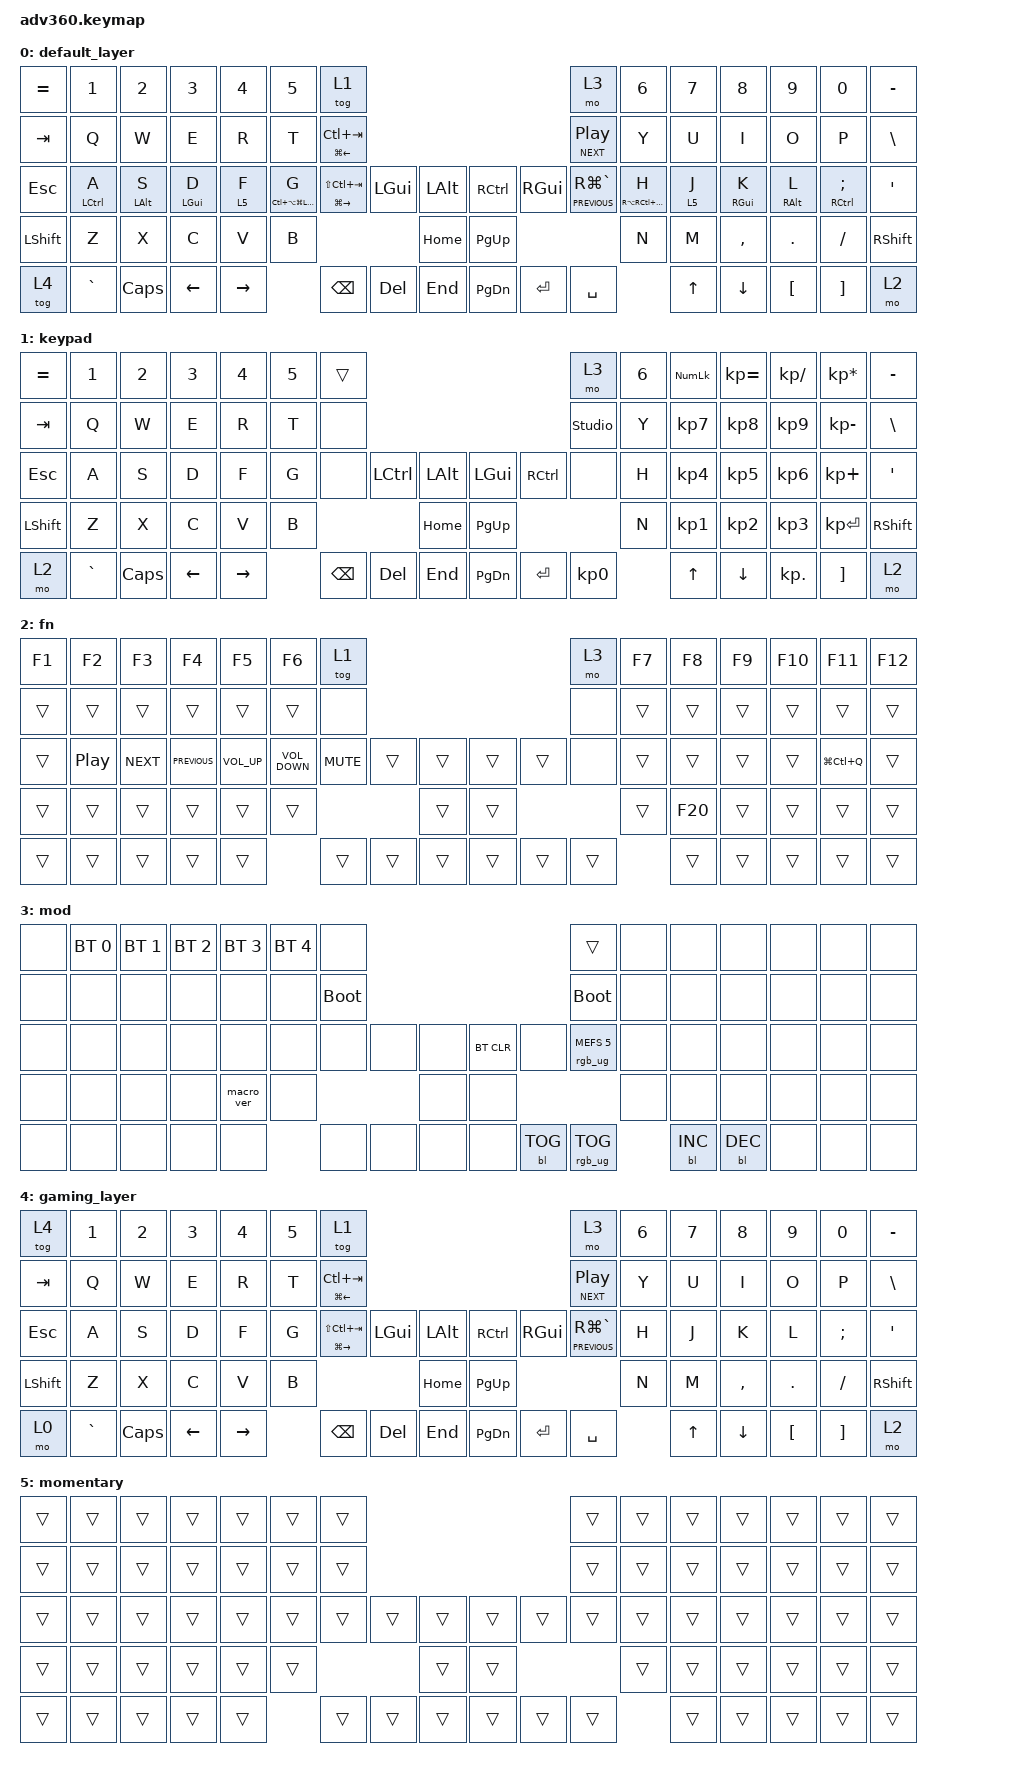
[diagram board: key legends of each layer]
#include <dt-bindings/zmk/stp.h>
#include <behaviors.dtsi>
#include <dt-bindings/zmk/backlight.h>
#include <dt-bindings/zmk/bt.h>
#include <dt-bindings/zmk/keys.h>
#include <dt-bindings/zmk/rgb.h>

/ {
    behaviors {
        #include "macros.dtsi"
      #include "version.dtsi"

        hm: homerow_mods {
            compatible = "zmk,behavior-hold-tap";
            label = "HOMEROW_MODS";
            #binding-cells = <2>;
            tapping-term-ms = <200>;
            quick_tap_ms = <175>;
            flavor = "tap-preferred";
            bindings = <&kp>, <&kp>;
        };
    };

    keymap {
        compatible = "zmk,keymap";

        default_layer {
            bindings = <
&kp EQUAL  &kp N1       &kp N2          &kp N3          &kp N4     &kp N5                        &tog 1                                                                                   &mo 3                     &kp N6                         &kp N7   &kp N8           &kp N9           &kp N0                       &kp MINUS
&kp TAB    &kp Q        &kp W           &kp E           &kp R      &kp T                         &mt LG(LEFT) LC(TAB)                                                                     &mt C_NEXT C_PLAY_PAUSE   &kp Y                          &kp U    &kp I            &kp O            &kp P                        &kp BSLH
&kp ESC    &hm LCTRL A  &hm LEFT_ALT S  &hm LEFT_GUI D  &lt 5 F    &hm LC(LA(LG(LEFT_SHIFT))) G  &mt LG(RIGHT) LS(LC(TAB))  &kp LEFT_GUI  &kp LALT      &kp RIGHT_CONTROL  &kp RIGHT_GUI  &mt C_PREVIOUS RG(GRAVE)  &hm RA(RC(RG(RIGHT_SHIFT))) H  &lt 5 J  &hm RIGHT_GUI K  &hm RIGHT_ALT L  &hm RIGHT_CONTROL SEMICOLON  &kp SQT
&kp LSHFT  &kp Z        &kp X           &kp C           &kp V      &kp B                                                                  &kp HOME      &kp PG_UP                                                   &kp N                          &kp M    &kp COMMA        &kp DOT          &kp FSLH                     &kp RSHFT
&tog 4     &kp GRAVE    &kp CAPS        &kp LEFT        &kp RIGHT                                &kp BSPC                   &kp DEL       &kp END       &kp PG_DN          &kp ENTER      &kp SPACE                                                &kp UP   &kp DOWN         &kp LBKT         &kp RBKT                     &mo 2
            >;
        };

        keypad {
            bindings = <
&kp EQUAL  &kp N1     &kp N2    &kp N3    &kp N4     &kp N5  &trans                                                   &mo 3           &kp N6  &kp KP_NUM  &kp KP_EQUAL  &kp KP_DIVIDE  &kp KP_MULTIPLY  &kp MINUS
&kp TAB    &kp Q      &kp W     &kp E     &kp R      &kp T   &none                                                    &studio_unlock  &kp Y   &kp KP_N7   &kp KP_N8     &kp KP_N9      &kp KP_MINUS     &kp BSLH
&kp ESC    &kp A      &kp S     &kp D     &kp F      &kp G   &none     &kp LCTRL  &kp LALT      &kp LGUI   &kp RCTRL  &none           &kp H   &kp KP_N4   &kp KP_N5     &kp KP_N6      &kp KP_PLUS      &kp SQT
&kp LSHFT  &kp Z      &kp X     &kp C     &kp V      &kp B                        &kp HOME      &kp PG_UP                             &kp N   &kp KP_N1   &kp KP_N2     &kp KP_N3      &kp KP_ENTER     &kp RSHFT
&mo 2      &kp GRAVE  &kp CAPS  &kp LEFT  &kp RIGHT          &kp BSPC  &kp DEL    &kp END       &kp PG_DN  &kp ENTER  &kp KP_N0               &kp UP      &kp DOWN      &kp KP_DOT     &kp RBKT         &mo 2
            >;
        };

        fn {
            bindings = <
&kp F1  &kp F2            &kp F3      &kp F4          &kp F5           &kp F6             &tog 1                                          &mo 3   &kp F7  &kp F8   &kp F9  &kp F10  &kp F11        &kp F12
&trans  &trans            &trans      &trans          &trans           &trans             &none                                           &none   &trans  &trans   &trans  &trans   &trans         &trans
&trans  &kp C_PLAY_PAUSE  &kp C_NEXT  &kp C_PREVIOUS  &kp C_VOLUME_UP  &kp C_VOLUME_DOWN  &kp K_MUTE  &trans  &trans      &trans  &trans  &none   &trans  &trans   &trans  &trans   &kp LG(LC(Q))  &trans
&trans  &trans            &trans      &trans          &trans           &trans                                 &trans      &trans                  &trans  &kp F20  &trans  &trans   &trans         &trans
&trans  &trans            &trans      &trans          &trans                              &trans      &trans  &trans      &trans  &trans  &trans          &trans   &trans  &trans   &trans         &trans
            >;
        };

        mod {
            bindings = <
&none  &bt BT_SEL 0  &bt BT_SEL 1  &bt BT_SEL 2  &bt BT_SEL 3  &bt BT_SEL 4  &none                                                  &trans                  &none  &none       &none       &none  &none  &none
&none  &none         &none         &none         &none         &none         &bootloader                                            &bootloader             &none  &none       &none       &none  &none  &none
&none  &none         &none         &none         &none         &none         &none        &none  &none      &bt BT_CLR  &none       &rgb_ug RGB_MEFS_CMD 5  &none  &none       &none       &none  &none  &none
&none  &none         &none         &none         &macro_ver    &none                             &none      &none                                           &none  &none       &none       &none  &none  &none
&none  &none         &none         &none         &none                       &none        &none  &none      &none       &bl BL_TOG  &rgb_ug RGB_TOG                &bl BL_INC  &bl BL_DEC  &none  &none  &none
            >;
        };

        gaming_layer {
            bindings = <
&tog 4     &kp N1     &kp N2    &kp N3    &kp N4     &kp N5  &tog 1                                                                                   &mo 3                     &kp N6  &kp N7  &kp N8     &kp N9    &kp N0         &kp MINUS
&kp TAB    &kp Q      &kp W     &kp E     &kp R      &kp T   &mt LG(LEFT) LC(TAB)                                                                     &mt C_NEXT C_PLAY_PAUSE   &kp Y   &kp U   &kp I      &kp O     &kp P          &kp BSLH
&kp ESC    &kp A      &kp S     &kp D     &kp F      &kp G   &mt LG(RIGHT) LS(LC(TAB))  &kp LEFT_GUI  &kp LALT      &kp RIGHT_CONTROL  &kp RIGHT_GUI  &mt C_PREVIOUS RG(GRAVE)  &kp H   &kp J   &kp K      &kp L     &kp SEMICOLON  &kp SQT
&kp LSHFT  &kp Z      &kp X     &kp C     &kp V      &kp B                                            &kp HOME      &kp PG_UP                                                   &kp N   &kp M   &kp COMMA  &kp DOT   &kp FSLH       &kp RSHFT
&mo 0      &kp GRAVE  &kp CAPS  &kp LEFT  &kp RIGHT          &kp BSPC                   &kp DEL       &kp END       &kp PG_DN          &kp ENTER      &kp SPACE                         &kp UP  &kp DOWN   &kp LBKT  &kp RBKT       &mo 2
            >;
        };

        momentary {
            bindings = <
&trans  &trans  &trans  &trans  &trans  &trans  &trans                                      &trans  &trans  &trans  &trans  &trans  &trans  &trans
&trans  &trans  &trans  &trans  &trans  &trans  &trans                                      &trans  &trans  &trans  &trans  &trans  &trans  &trans
&trans  &trans  &trans  &trans  &trans  &trans  &trans  &trans  &trans      &trans  &trans  &trans  &trans  &trans  &trans  &trans  &trans  &trans
&trans  &trans  &trans  &trans  &trans  &trans                  &trans      &trans                  &trans  &trans  &trans  &trans  &trans  &trans
&trans  &trans  &trans  &trans  &trans          &trans  &trans  &trans      &trans  &trans  &trans          &trans  &trans  &trans  &trans  &trans
            >;
        };
    };
};
